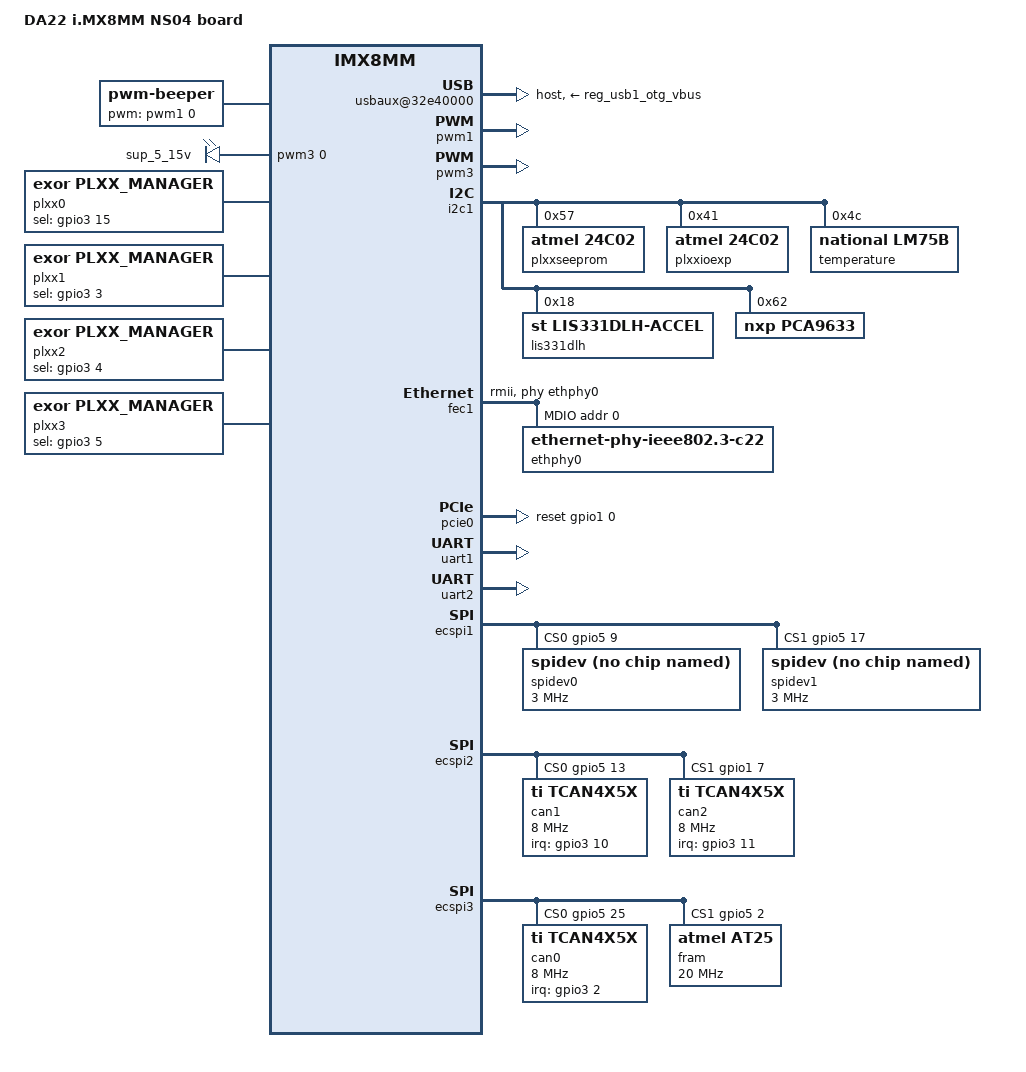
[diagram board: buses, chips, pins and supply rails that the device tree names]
/*
 * Copyright (C) 2022 Exor S.p.a
 * 
 * Written by: G. Pavoni Exor S.p.a.
 * 
 * Copyright (C) 2013 Freescale Semiconductor, Inc.
 *
 * This program is free software; you can redistribute it and/or modify
 * it under the terms of the GNU General Public License version 2 as
 * published by the Free Software Foundation.
 */
  
/dts-v1/;
  
#include "imx8mm_ns04.dtsi"
  
/ {
	model = "DA22 i.MX8MM NS04 board";

	aliases {
		serial0 = &uart1;
		serial1 = &uart2;
	};

	beeper {
		compatible = "pwm-beeper";
		pwms = <&pwm1 0 50000 0>;
	};

	pwmleds {
		compatible = "pwm-leds";
		sup_5_15v_pwm {
			label = "sup_5_15v";
			pwms = <&pwm3 0 200000 0>;
			max-brightness = <12>;
			default-state = "on";
		};
	};	

	working_hours {
	  compatible = "working_hours";
	  nvmem-names = "eeprom", "rtcnvram";
	  nvmem = <&seeprom0>, <&m41t83>;
	  status = "okay";
	};	

	plxx0: plugin0 {
	  compatible = "exor,plxx_manager";
	  nvmem-names = "eeprom", "ioexp";
	  nvmem = <&plxxseeprom>, <&plxxioexp>;
	  sel-gpio = <&gpio3 15 0>;
	  index = <0>;
	  status = "okay";
	};	
	
	plxx1: plugin1 {
	  compatible = "exor,plxx_manager";
	  nvmem-names = "eeprom", "ioexp";
	  nvmem = <&plxxseeprom>, <&plxxioexp>;
	  sel-gpio = <&gpio3 3 0>;
	  index = <1>;
	  status = "okay";
	};	
	
	plxx2: plugin2 {
	  compatible = "exor,plxx_manager";
	  nvmem-names = "eeprom", "ioexp";
	  nvmem = <&plxxseeprom>, <&plxxioexp>;
	  sel-gpio = <&gpio3 4 0>;
	  index = <2>;
	  status = "okay";
	};	
	
	plxx3: plugin3 {
	  compatible = "exor,plxx_manager";
	  nvmem-names = "eeprom", "ioexp";
	  nvmem = <&plxxseeprom>, <&plxxioexp>;
	  sel-gpio = <&gpio3 5 0>;
	  index = <3>;
	  status = "okay";
	};	
};

&aips4 {
	usbaux@32e40000 {
		compatible = "fsl,imx8mm-usb", "fsl,imx7d-usb";
		reg = <0x32e40000 0x200>;
		interrupts = <GIC_SPI 40 IRQ_TYPE_LEVEL_HIGH>;
		clocks = <&clk IMX8MM_CLK_USB1_CTRL_ROOT>;
		clock-names = "usb1_ctrl_root_clk";
		assigned-clocks = <&clk IMX8MM_CLK_USB_BUS>;
		assigned-clock-parents = <&clk IMX8MM_SYS_PLL2_500M>;
		fsl,usbphy = <&usbphynop1>;
		fsl,usbmisc = <&usbmisc1 0>;
		power-domains = <&usb_otg1_pd>;
		
		dr_mode = "host";
		vbus-supply = <&reg_usb1_otg_vbus>;
		picophy,pre-emp-curr-control = <3>;
		picophy,dc-vol-level-adjust = <7>;
		status = "okay";
	};	
};

/delete-node/&usbotg1;

&pwm1 {
	pinctrl-names = "default";
	pinctrl-0 = <&pinctrl_pwm1>;
	status = "okay";
};

&pwm3 {
	pinctrl-names = "default";
	pinctrl-0 = <&pinctrl_pwm3>;
	status = "okay";
};

&i2c1 {

	plxxseeprom:seeprom1@57 {
		compatible = "atmel,24c02";
		reg = <0x57>;
	};

	plxxioexp:ioexp1@41 {
		compatible = "atmel,24c02";
		reg = <0x41>;
	};    
	
	temperature:lm75b@4c {
		compatible = "national,lm75b";
		reg = <0x4c>;
	};
	
	lis331dlh@18 {
		/* Accelerometer */
		compatible = "st,lis331dlh-accel";
		reg = <0x18>;
	};

	pca9633: pca9633@62 {
		compatible = "nxp,pca9633";
		#address-cells = <1>;
		#size-cells = <0>;
		reg = <0x62>;
		
		red@0 {
			label = "red";
			reg = <0>;
			linux,default-trigger = "none";
		};
		green@1 {
			label = "green";
			reg = <1>;
			linux,default-trigger = "none";
		};
		blue@2 {
			label = "blue";
			reg = <2>;
			linux,default-trigger = "none";
		};
		unused@3 {
			label = "unused";
			reg = <3>;
			linux,default-trigger = "none";
		};
	};
	
};

&fec1 {
	pinctrl-names = "default";
	pinctrl-0 = <&pinctrl_fec1>;
	phy-mode = "rmii";
	phy-handle = <&ethphy0>;
	fsl,magic-packet;
	status = "okay";

	mdio {
		#address-cells = <1>;
		#size-cells = <0>;

		ethphy0: ethernet-phy@0 {
			compatible = "ethernet-phy-ieee802.3-c22";
			max-speed = <100>;
			reg = <0>;
		};
	};
};

&pcie0{
	pinctrl-names = "default";
	pinctrl-0 = <&pinctrl_pcie0>;
	reset-gpio = <&gpio1 0 0>;
	ext_osc = <1>;
	fsl,max-link-speed = <1>;
	status = "okay";
};

&mipi_dsi {
	status = "disabled";
};

&dsi_lvds_bridge{
		/delete-property/enable-gpios;
		status = "disabled";
};

&uart1 { /* Main UART */
	/delete-property/dmas;
	/delete-property/dma-names;
	pinctrl-names = "default";
	pinctrl-0 = <&pinctrl_uart1>;
	fsl,uart-has-rtscts;
	rts-gpio = <&gpio4 24 0>;

	status = "okay";
};

&uart2 {
	pinctrl-names = "default";
	pinctrl-0 = <&pinctrl_uart2>;
	fsl,uart-has-rtscts;
	status = "okay";
	/delete-property/dmas;
	/delete-property/dma-names;
};

&ecspi1 { /* 2 x spidev devices for plugin modules */
    fsl,spi-num-chipselects = <2>;
    cs-gpios = <&gpio5 9 0>,  /* CS0 */
               <&gpio5 17 0>; /* CS1 */
    pinctrl-names = "default";
    pinctrl-0 = <&pinctrl_ecspi1>;
    status = "okay";
	/delete-property/dmas;
	/delete-property/dma-names;
  
    spidev0: spi0@0 {
        compatible = "generic,spidev";
        reg = <0>;
        spi-max-frequency = <3000000>;
    };

    spidev1: spi0@1 {
        compatible = "generic,spidev";
        reg = <1>;
        spi-max-frequency = <3000000>;
    };
};

&ecspi2 { /* 2 x spidev; reserved for SPI-CAN plugins */
    fsl,spi-num-chipselects = <2>;
    cs-gpios = <&gpio5 13 0>,  /* CS0 */
               <&gpio1 7 0>;   /* CS1 */
    pinctrl-names = "default";
    pinctrl-0 = <&pinctrl_ecspi2>;
    status = "okay";
	/delete-property/dmas;
	/delete-property/dma-names;
  
    can1: spi1@0 {
		compatible = "ti,tcan4x5x";
		reg = <0>;
		#address-cells = <1>;
		#size-cells = <1>;
		spi-max-frequency = <8000000>;
		bosch,mram-cfg = <0x0 0 0 32 0 0 1 1>;
		interrupt-parent = <&gpio3>;
		interrupts = <10 IRQ_TYPE_LEVEL_LOW>;
	};

    can2: spi1@1 {
		compatible = "ti,tcan4x5x";
		reg = <1>;
		#address-cells = <1>;
		#size-cells = <1>;
		spi-max-frequency = <8000000>;
		bosch,mram-cfg = <0x0 0 0 32 0 0 1 1>;
		interrupt-parent = <&gpio3>;
		interrupts = <11 IRQ_TYPE_LEVEL_LOW>;
    };
};

&ecspi3 {
    fsl,spi-num-chipselects = <2>;
    cs-gpios = <&gpio5 25 0>,  /* CS0 */
               <&gpio5 2 0>;   /* CS1 */
    pinctrl-names = "default";
    pinctrl-0 = <&pinctrl_ecspi3>;
    status = "okay";
	/delete-property/dmas;
	/delete-property/dma-names;

    can0: spi3@0 {
		compatible = "ti,tcan4x5x";
		reg = <0>;
		#address-cells = <1>;
		#size-cells = <1>;
		spi-max-frequency = <8000000>;
		bosch,mram-cfg = <0x0 0 0 32 0 0 1 1>;
		interrupt-parent = <&gpio3>;
		interrupts = <2 IRQ_TYPE_LEVEL_LOW>;
	};    
	
	fram: at25@1 {
        compatible = "atmel,at25", "st,m95256";
        reg = <1>;
        spi-max-frequency = <20000000>;
        pagesize = <64>;
        size = <65536>;
        address-width = <16>;
    };
};

&iomuxc {
	imx8mm-evk {

		pinctrl_hog: hoggrp {
			fsl,pins = <
				MX8MM_IOMUXC_NAND_RE_B_GPIO3_IO15       0x1c4 /* plugin sel #0 */
				MX8MM_IOMUXC_NAND_CE2_B_GPIO3_IO3       0x1c4 /* plugin sel #1 */  
				MX8MM_IOMUXC_NAND_CE3_B_GPIO3_IO4       0x1c4 /* plugin sel #2 */  
				MX8MM_IOMUXC_NAND_CLE_GPIO3_IO5         0x1c4 /* plugin sel #3 */
			>;
		};

		pinctrl_ecspi1: ecspi1grp {
			fsl,pins = <
				MX8MM_IOMUXC_ECSPI1_SCLK_ECSPI1_SCLK    0x11
				MX8MM_IOMUXC_ECSPI1_MOSI_ECSPI1_MOSI    0x11
				MX8MM_IOMUXC_ECSPI1_MISO_ECSPI1_MISO    0x11
				MX8MM_IOMUXC_ECSPI1_SS0_GPIO5_IO9       0x11 /* cs0 */ 
				MX8MM_IOMUXC_I2C2_SDA_GPIO5_IO17        0x11 /* cs1 */
				MX8MM_IOMUXC_NAND_WE_B_GPIO3_IO17       0x11 /* spi1_cs0_int */
				MX8MM_IOMUXC_NAND_WP_B_GPIO3_IO18       0x11 /* spi1_cs0_int */
			>;
		};

		pinctrl_ecspi2: ecspi2grp {
			fsl,pins = <
				MX8MM_IOMUXC_ECSPI2_SCLK_ECSPI2_SCLK    0x11
				MX8MM_IOMUXC_ECSPI2_MOSI_ECSPI2_MOSI    0x11
				MX8MM_IOMUXC_ECSPI2_MISO_ECSPI2_MISO    0x11
				MX8MM_IOMUXC_ECSPI2_SS0_GPIO5_IO13      0x11 /* cs0 */ 
				MX8MM_IOMUXC_GPIO1_IO07_GPIO1_IO7       0x11 /* cs1 */
				MX8MM_IOMUXC_NAND_DATA04_GPIO3_IO10     0x11 /* spi2_cs0_int */
				MX8MM_IOMUXC_NAND_DATA05_GPIO3_IO11     0x11 /* spi2_cs1_int */
			>;
		};

		pinctrl_ecspi3: ecspi3grp {
			fsl,pins = <
                MX8MM_IOMUXC_UART1_RXD_ECSPI3_SCLK      0x11
                MX8MM_IOMUXC_UART1_TXD_ECSPI3_MOSI      0x11
                MX8MM_IOMUXC_UART2_RXD_ECSPI3_MISO      0x11
                MX8MM_IOMUXC_UART2_TXD_GPIO5_IO25       0x11 /* cs0 (can) */
                MX8MM_IOMUXC_SAI3_MCLK_GPIO5_IO2        0x11 /* cs1 (fram) */
                MX8MM_IOMUXC_NAND_CE1_B_GPIO3_IO2       0x11 /* can_irq */
			>;
		};
		
		pinctrl_uart1: uart1grp {
			fsl,pins = <
				MX8MM_IOMUXC_SAI2_RXFS_UART1_DCE_TX	    0x140
				MX8MM_IOMUXC_SAI2_RXC_UART1_DCE_RX	    0x140
				MX8MM_IOMUXC_SAI2_TXFS_GPIO4_IO24	0x140
			>;
		};	

		pinctrl_uart2: uart2grp {
			fsl,pins = <
				MX8MM_IOMUXC_SAI3_TXFS_UART2_DCE_RX     0x140
				MX8MM_IOMUXC_SAI3_RXD_UART2_DCE_RTS_B   0x140
				MX8MM_IOMUXC_SAI3_RXC_UART2_DCE_CTS_B   0x140
				MX8MM_IOMUXC_SAI3_TXC_UART2_DCE_TX      0x140
			>;
		};
		
		pinctrl_pwm1: pwm1grp {
			fsl,pins = <
				MX8MM_IOMUXC_I2C4_SDA_PWM1_OUT            0x1c4
			>;
		};

		pinctrl_pwm3: pwm3grp {
			fsl,pins = <
				MX8MM_IOMUXC_SPDIF_TX_PWM3_OUT            0x1c4
			>;
		};

		pinctrl_pcie0: pcie0grp {
			fsl,pins = <
				MX8MM_IOMUXC_GPIO1_IO00_GPIO1_IO0         0x1c4
			>;
		};

		pinctrl_dig_io: pinctrl_dig_iogrp {
			fsl,pins = <
                MX8MM_IOMUXC_NAND_DATA02_GPIO3_IO8       0x1c4 /* in1   */
                MX8MM_IOMUXC_NAND_DATA03_GPIO3_IO9       0x1c4 /* in2   */
                MX8MM_IOMUXC_GPIO1_IO01_GPIO1_IO1        0x1c4 /* out1  */
 			>;
		};
		
		pinctrl_fec1: fec1grp {
			fsl,pins = <
				MX8MM_IOMUXC_ENET_MDC_ENET1_MDC		0x3
				MX8MM_IOMUXC_ENET_MDIO_ENET1_MDIO	0x3
				MX8MM_IOMUXC_ENET_TD2_ENET1_TX_CLK	0x4000001f
				MX8MM_IOMUXC_ENET_TD1_ENET1_RGMII_TD1	0x56
				MX8MM_IOMUXC_ENET_TD0_ENET1_RGMII_TD0	0x56
				MX8MM_IOMUXC_ENET_RD1_ENET1_RGMII_RD1	0x56
				MX8MM_IOMUXC_ENET_RD0_ENET1_RGMII_RD0	0x56
				MX8MM_IOMUXC_ENET_RXC_ENET1_RX_ER	0x56
				MX8MM_IOMUXC_ENET_RX_CTL_ENET1_RGMII_RX_CTL	0x56
				MX8MM_IOMUXC_ENET_TX_CTL_ENET1_RGMII_TX_CTL	0x56
			>;
		};
	};
};

